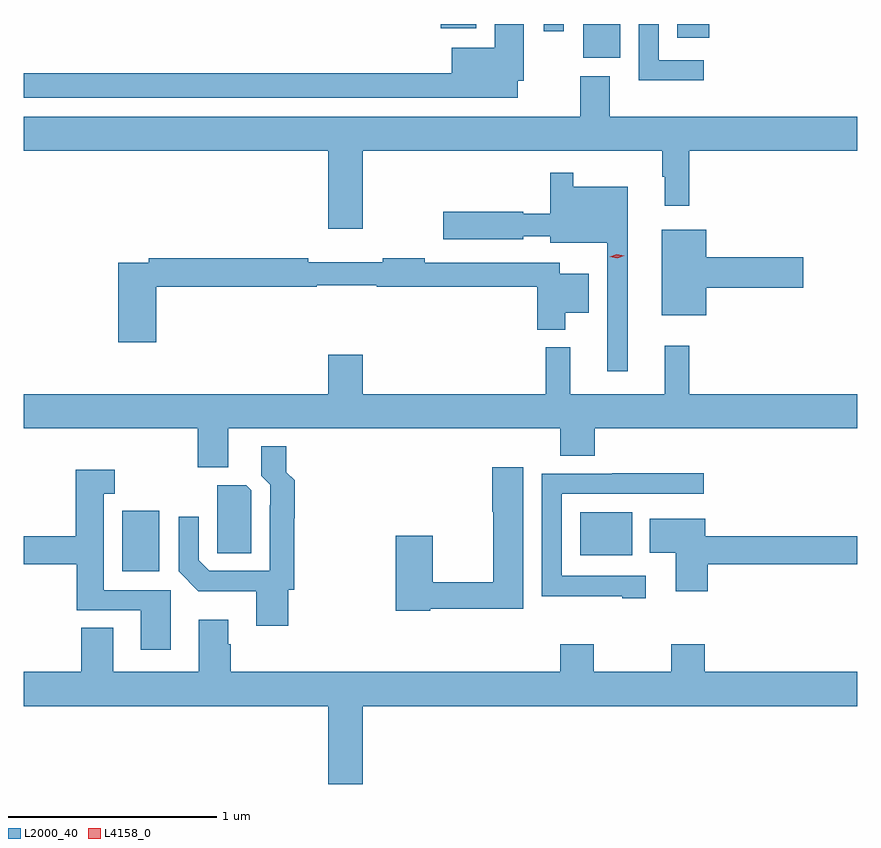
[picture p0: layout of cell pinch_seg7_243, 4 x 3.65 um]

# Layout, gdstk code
import gdstk
lib = gdstk.Library(unit=1e-6, precision=1e-09)
def R(c, l, rs):  # rectangles x0, y0, x1, y1
    for r in rs: c.add(gdstk.rectangle(r[:2], r[2:], *l))
def P(c, l, *ps):  # polygons
    for p in ps: c.add(gdstk.Polygon(p, *l))
L2000_40 = (2000, 40)
L4158_0 = (4158, 0)

pinch_seg7_243 = lib.new_cell('pinch_seg7_243')
R(pinch_seg7_243, L2000_40, [(871.31,1053.212,871.489,1053.502), (873.509,1053.287,873.757,1053.493), (873.524,1055.675,873.7,1055.837), (873.974,1055.772,874.127,1055.837), (873.333,1055.802,873.429,1055.837), (872.84,1055.817,873.01,1055.837)])
P(pinch_seg7_243, L2000_40, [(873.208,1055.564),(873.238,1055.564),(873.238,1055.837),(873.098,1055.837),(873.098,1055.722),(872.891,1055.722),(872.891,1055.6),(870.838,1055.6),(870.838,1055.484),(872.995,1055.484),(872.995,1055.483),(873.208,1055.483)],
  [(874.102,1055.664),(873.885,1055.664),(873.885,1055.837),(873.789,1055.837),(873.789,1055.567),(874.102,1055.567)],
  [(872.464,1055.228),(873.903,1055.228),(873.903,1055.105),(873.914,1055.105),(873.914,1054.965),(874.031,1054.965),(874.031,1055.228),(874.838,1055.228),(874.838,1055.392),(873.649,1055.392),(873.649,1055.587),(873.509,1055.587),(873.509,1055.392),(870.838,1055.392),(870.838,1055.228),(872.3,1055.228),(872.3,1054.854),(872.464,1054.854)],
  [(873.736,1055.056),(873.475,1055.056),(873.475,1055.122),(873.365,1055.122),(873.365,1054.927),(873.234,1054.927),(873.234,1054.935),(872.85,1054.935),(872.85,1054.805),(873.234,1054.805),(873.234,1054.818),(873.365,1054.818),(873.365,1054.787),(873.639,1054.787),(873.639,1054.17),(873.736,1054.17)],
  [(874.114,1054.571),(874.579,1054.571),(874.579,1054.718),(874.114,1054.718),(874.114,1054.849),(873.899,1054.849),(873.899,1054.439),(874.114,1054.439)],
  [(871.475,1054.576),(872.245,1054.576),(872.245,1054.584),(872.531,1054.584),(872.531,1054.576),(873.302,1054.576),(873.302,1054.37),(873.436,1054.37),(873.436,1054.451),(873.55,1054.451),(873.55,1054.639),(873.411,1054.639),(873.411,1054.692),(872.762,1054.692),(872.762,1054.712),(872.56,1054.712),(872.56,1054.693),(872.204,1054.693),(872.204,1054.712),(871.438,1054.712),(871.438,1054.692),(871.292,1054.692),(871.292,1054.311),(871.475,1054.311)],
  [(873.413,1053.765),(873.578,1053.765),(873.578,1053.896),(874.838,1053.896),(874.838,1054.06),(874.031,1054.06),(874.031,1054.294),(873.914,1054.294),(873.914,1054.06),(873.461,1054.06),(873.461,1054.285),(873.343,1054.285),(873.343,1054.06),(872.464,1054.06),(872.464,1054.249),(872.3,1054.249),(872.3,1054.06),(870.838,1054.06),(870.838,1053.896),(871.672,1053.896),(871.672,1053.709),(871.819,1053.709),(871.819,1053.896),(873.413,1053.896)],
  [(872.108,1053.123),(872.135,1053.123),(872.135,1053.466),(872.138,1053.466),(872.138,1053.648),(872.099,1053.687),(872.099,1053.811),(871.979,1053.811),(871.979,1053.67),(872.022,1053.627),(872.022,1053.527),(872.019,1053.527),(872.019,1053.213),(871.728,1053.213),(871.677,1053.264),(871.677,1053.472),(871.581,1053.472),(871.581,1053.21),(871.675,1053.116),(871.955,1053.116),(871.955,1052.949),(872.108,1052.949)],
  [(872.79,1053.03),(873.235,1053.03),(873.235,1053.709),(873.086,1053.709),(873.086,1053.496),(873.091,1053.496),(873.091,1053.158),(872.802,1053.158),(872.802,1053.382),(872.624,1053.382),(872.624,1053.022),(872.79,1053.022)],
  [(871.543,1053.12),(871.222,1053.12),(871.222,1053.584),(871.276,1053.584),(871.276,1053.697),(871.088,1053.697),(871.088,1053.38),(870.838,1053.38),(870.838,1053.244),(871.093,1053.244),(871.093,1053.024),(871.4,1053.024),(871.4,1052.835),(871.543,1052.835)],
  [(873.823,1053.189),(873.42,1053.189),(873.42,1053.582),(874.102,1053.582),(874.102,1053.68),(873.661,1053.68),(873.661,1053.678),(873.324,1053.678),(873.324,1053.091),(873.71,1053.091),(873.71,1053.081),(873.823,1053.081)],
  [(871.929,1053.6),(871.905,1053.624),(871.766,1053.624),(871.766,1053.409),(871.767,1053.409),(871.767,1053.298),(871.929,1053.298)],
  [(874.121,1053.244),(874.838,1053.244),(874.838,1053.38),(874.108,1053.38),(874.108,1053.463),(873.842,1053.463),(873.842,1053.299),(873.968,1053.299),(873.968,1053.114),(874.121,1053.114)],
  [(872.464,1052.564),(874.838,1052.564),(874.838,1052.728),(874.106,1052.728),(874.106,1052.86),(873.946,1052.86),(873.946,1052.728),(873.573,1052.728),(873.573,1052.86),(873.413,1052.86),(873.413,1052.728),(871.832,1052.728),(871.832,1052.861),(871.819,1052.861),(871.819,1052.977),(871.679,1052.977),(871.679,1052.728),(871.267,1052.728),(871.267,1052.939),(871.115,1052.939),(871.115,1052.728),(870.838,1052.728),(870.838,1052.564),(872.3,1052.564),(872.3,1052.19),(872.464,1052.19)])
P(pinch_seg7_243, L4158_0, [(873.686,1054.713),(873.65,1054.721),(873.649,1054.721),(873.65,1054.721),(873.684,1054.733),(873.72,1054.726),(873.72,1054.725),(873.72,1054.725)])

lib.write_gds('pinch_seg7_243.gds')
